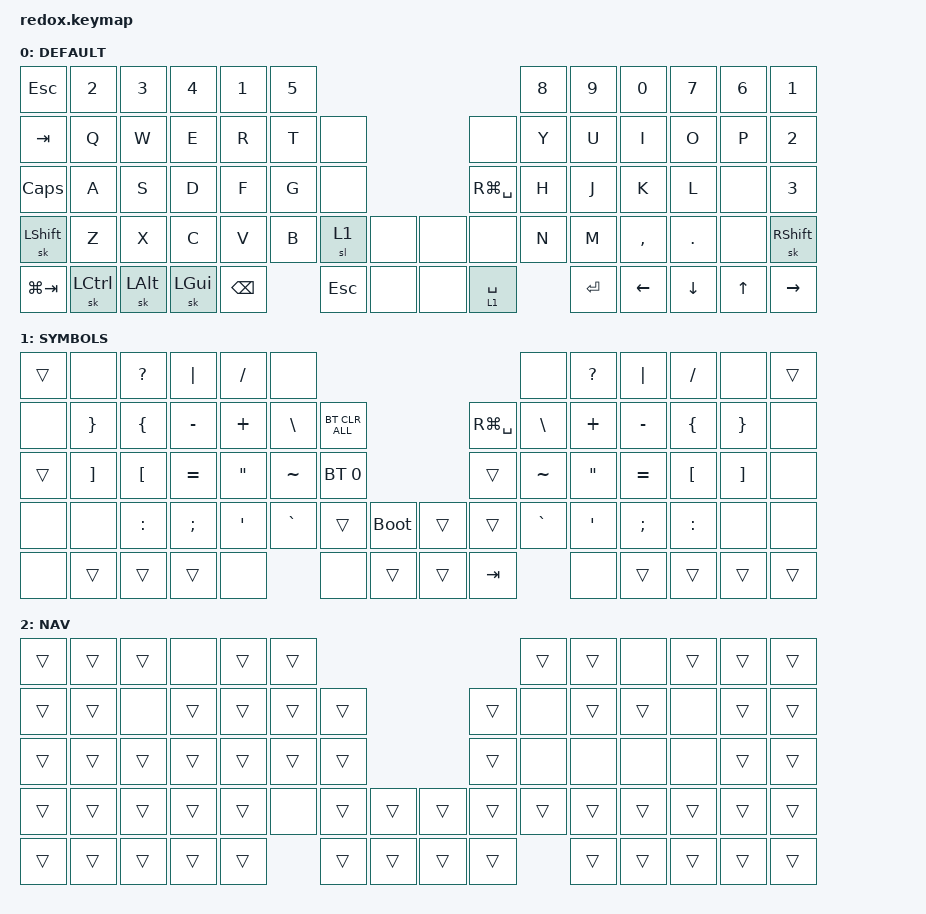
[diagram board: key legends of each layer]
/*
 * Copyright (c) 2021 The ZMK Contributors
 *
 * SPDX-License-Identifier: MIT
 */

#include <behaviors.dtsi>
#include <dt-bindings/zmk/bt.h>
#include <dt-bindings/zmk/keys.h>

&sk { quick-release; };

&mt { flavor = "balanced"; };

/ {
    behaviors {
        cx_lt: cx_lt {
            compatible = "zmk,behavior-hold-tap";
            label = "CX_LT";
            bindings = <&mo>, <&kp>;

            #binding-cells = <2>;
            tapping-term-ms = <200>;
            flavor = "balanced";
        };

        mt_cx: require_prior_idle {
            compatible = "zmk,behavior-hold-tap";
            label = "REQUIRE_PRIOR_IDLE";
            #binding-cells = <2>;
            flavor = "balanced";
            tapping-term-ms = <400>;
            quick-tap-ms = <200>;
            require-prior-idle-ms = <125>;
            bindings = <&kp>, <&kp>;
        };
    };

    macros {
        del_line: del_line {
            compatible = "zmk,behavior-macro";
            #binding-cells = <0>;
            bindings = <&kp RG(LEFT) &kp RC(K)>;
            label = "DEL_LINE";
        };

        del_word: del_word {
            compatible = "zmk,behavior-macro";
            #binding-cells = <0>;
            bindings = <&kp LA(RIGHT) &kp LA(BACKSPACE)>;
            label = "DEL_WORD";
        };
    };

    keymap {
        compatible = "zmk,keymap";

        DEFAULT {
            // --------------------------------------------------------------------------------------------------------------------------------
            // | ESC   |  1  |  2  |   3   |  4  |  5  |                   ---                |  6    |  7    |  8    |  9   | 0  |    BKSP   |
            // | TAB   |  Q  |  W  |   E   |  R  |  T  |   (   |           ---        |  )    |  Y    |  U    |  I    |  O   | P  |     -     |
            // | CTRL  |  A  |  S  |   D   |  F  |  G  |   [   |           ---        |  ]    |  H    |  J    |  K    |  L   | ;  |     '     |
            // | SHIFT |  Z  |  X  |   C   |  V  |  B  | PG_UP | PG_DOWN | --- | HOME | END   |  N    |  M    |  ,    |  .   | /  | SHFT |
            // | CRTL  | ALT | GUI | LOWER |    BKSP    | ESC | SPACE   | --- | DEL  | SPACE |     RET     | LEFT  | DOWN | UP |   RIGHT   |

            bindings = <
&kp ESC         &kp NUMBER_2  &kp NUMBER_3  &kp NUMBER_4  &kp NUMBER_1   &kp N5                                          &kp N8  &kp N9     &kp N0     &kp N7      &kp N6  &kp NUMBER_1
&kp TAB         &kp Q         &kp W         &kp E         &kp R          &kp T   &none                    &none          &kp Y   &kp U      &kp I      &kp O       &kp P   &kp NUMBER_2
&kp CAPSLOCK    &kp A         &kp S         &kp D         &kp F          &kp G   &none                    &kp RG(SPACE)  &kp H   &kp J      &kp K      &kp L       &none   &kp NUMBER_3
&sk LEFT_SHIFT  &kp Z         &kp X         &kp C         &kp V          &kp B   &sl 1    &none    &none  &none          &kp N   &kp M      &kp COMMA  &kp PERIOD  &none   &sk RIGHT_SHIFT
&kp LG(TAB)     &sk LCTRL     &sk LALT      &sk LGUI      &kp BACKSPACE          &kp ESC  &none    &none  &lt 1 SPACE            &kp ENTER  &kp LEFT   &kp DOWN    &kp UP  &kp RIGHT
            >;
        };

        SYMBOLS {
            // --------------------------------------------------------------------------------------------------------------------------
            // | ESC   |  1  |  2  |   3   |   4   |  5  |                   ---              |  6  |  7  |   8  |  9   |  0  |  DEL  |
            // | ESC   |  1  |  2  |   3   |   4   |  5  |   (   |           ---        |  )  |  6  |  7  |   8  |  9   |  0  |  DEL  |
            // | CTRL  |  -  |  =  |   [   |   ]   |  \  |   [   |           ---        |  ]  |  *  |  4  |   5  |  6   |  +  |   -   |
            // | SHIFT | ESC | GUI | COPY  | PASTE |     | PG_UP | PG_DOWN | --- | HOME | END |  \  |  1  |   2  |  3   | RET |  RET  |
            // | CRTL  | ALT | GUI | LOWER |     GUI     | LOWER | SPACE   | --- | DEL  |  0  |    RAISE  | LEFT | DOWN | UP  | RIGHT |

            bindings = <
&trans  &none              &kp QUESTION      &kp PIPE   &kp SLASH          &none                                                                &none          &kp QUESTION       &kp PIPE       &kp SLASH         &none              &trans
&none   &kp RIGHT_BRACE    &kp LEFT_BRACE    &kp MINUS  &kp PLUS           &kp BACKSLASH  &bt BT_CLR_ALL                         &kp RG(SPACE)  &kp BACKSLASH  &kp PLUS           &kp MINUS      &kp LEFT_BRACE    &kp RIGHT_BRACE    &none
&trans  &kp RIGHT_BRACKET  &kp LEFT_BRACKET  &kp EQUAL  &kp DOUBLE_QUOTES  &kp TILDE      &bt BT_SEL 0                           &trans         &kp TILDE      &kp DOUBLE_QUOTES  &kp EQUAL      &kp LEFT_BRACKET  &kp RIGHT_BRACKET  &none
&none   &none              &kp COLON         &kp SEMI   &kp SINGLE_QUOTE   &kp GRAVE      &trans          &bootloader    &trans  &trans         &kp GRAVE      &kp SINGLE_QUOTE   &kp SEMICOLON  &kp COLON         &none              &none
&none   &trans             &trans            &trans     &none                             &none           &trans         &trans  &kp TAB                       &none              &trans         &trans            &trans             &trans
            >;
        };

        NAV {
            bindings = <
&trans  &trans  &trans  &none   &trans  &trans                                    &trans  &trans  &none   &trans  &trans  &trans
&trans  &trans  &none   &trans  &trans  &trans  &trans                    &trans  &none   &trans  &trans  &none   &trans  &trans
&trans  &trans  &trans  &trans  &trans  &trans  &trans                    &trans  &none   &none   &none   &none   &trans  &trans
&trans  &trans  &trans  &trans  &trans  &none   &trans  &trans    &trans  &trans  &trans  &trans  &trans  &trans  &trans  &trans
&trans  &trans  &trans  &trans  &trans          &trans  &trans    &trans  &trans          &trans  &trans  &trans  &trans  &trans
            >;
        };
    };
};
